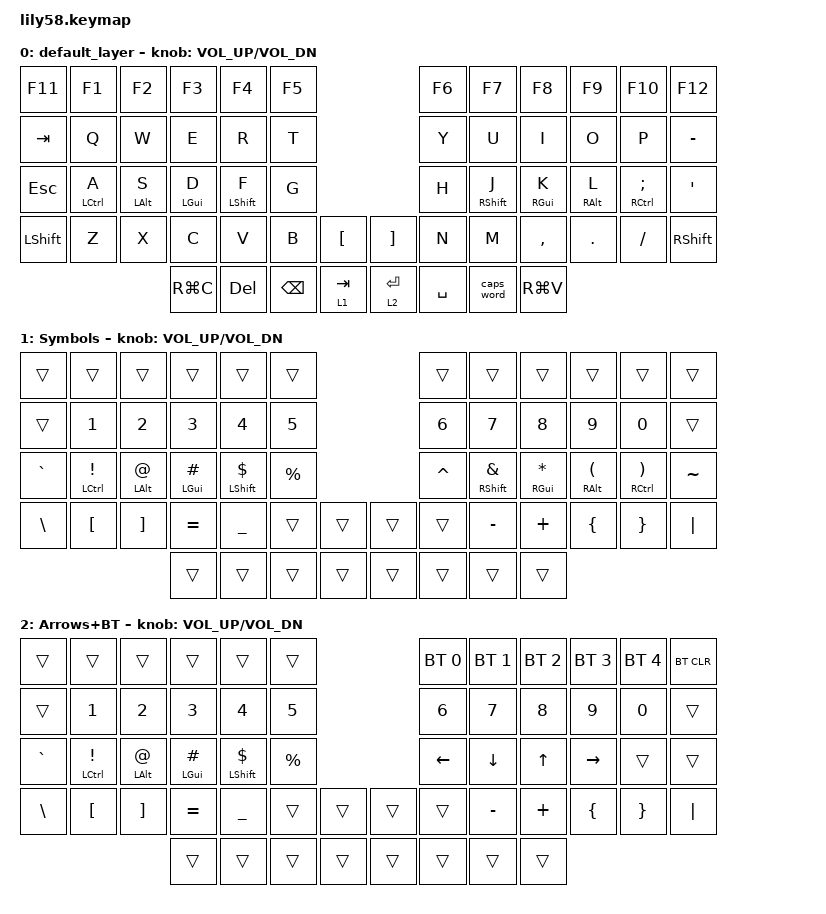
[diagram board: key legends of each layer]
/*
 * Copyright (c) 2020 The ZMK Contributors
 *
 * SPDX-License-Identifier: MIT
 */

#include <behaviors.dtsi>
#include <dt-bindings/zmk/bt.h>
#include <dt-bindings/zmk/keys.h>

/ {
    behaviors {
        hml: homewrow_mods_left {
            compatible = "zmk,behavior-hold-tap";
            label = "HOMEROW_MODS_LEFT_HAND";
            bindings = <&kp>, <&kp>;

            #binding-cells = <2>;
            tapping-term-ms = <250>;
            hold-trigger-key-positions = <6 7 8 9 10 11 18 19 20 21 22 23 30 31 32 33 34 35 44 45 46 47 48 49 55 56 57 43 54 53 52 51>;
            flavor = "balanced";
            hold-trigger-on-release;
            require-prior-idle-ms = <70>;
            quick-tap-ms = <180>;
        };

        hmr: homewrow_mods_right {
            compatible = "zmk,behavior-hold-tap";
            label = "HOMEROW_MODS_RIGHT_HAND";
            bindings = <&kp>, <&kp>;

            #binding-cells = <2>;
            tapping-term-ms = <250>;
            hold-trigger-key-positions = <0 1 2 3 4 5 12 13 14 15 16 17 24 25 26 27 28 29 36 37 38 39 40 41 42 50 51 52 53 54 55>;
            flavor = "balanced";
            hold-trigger-on-release;
            require-prior-idle-ms = <70>;
            quick-tap-ms = <180>;
        };

        tm: thumb_mods {
            compatible = "zmk,behavior-hold-tap";
            bindings = <&mo>, <&kp>;

            #binding-cells = <2>;
            tapping-term-ms = <150>;
            flavor = "balanced";
            hold-trigger-on-release;
            hold-trigger-key-positions = <0 1 2 3 4 5 6 7 8 9 10 11 12 13 14 15 16 17 18 19 20 21 22 23 24 25 26 27 28 29 30 31 32 33 34 35 36 37 38 39 40 41 42 43 44 45 46 47 48 49 50 51 52 55 56 57 54 53>;
            label = "THUMB_MODS";
            quick-tap-ms = <100>;
        };

        hml_shift: hml_shift {
            compatible = "zmk,behavior-hold-tap";
            label = "HML_SHIFT";
            bindings = <&kp>, <&kp>;

            #binding-cells = <2>;
            tapping-term-ms = <140>;
            hold-trigger-key-positions = <6 7 8 9 10 11 18 19 20 21 22 23 30 31 32 33 34 35 44 45 46 47 48 49 55 56 57 43 54 53>;
            flavor = "balanced";
            quick-tap-ms = <180>;
        };

        hmr_shift: hmr_shift {
            compatible = "zmk,behavior-hold-tap";
            label = "HMR_SHIFT";
            bindings = <&kp>, <&kp>;

            #binding-cells = <2>;
            tapping-term-ms = <140>;
            hold-trigger-key-positions = <0 1 2 3 4 5 12 13 14 15 16 17 24 25 26 27 28 29 36 37 38 39 40 41 42 50 51 52 53 54>;
            flavor = "balanced";
            quick-tap-ms = <180>;
        };
    };

    keymap {
        compatible = "zmk,keymap";

        default_layer {
            // ------------------------------------------------------------------------------------------------------------
            // |  ESC  |  1  |  2  |  3   |  4   |  5   |                   |  6   |  7    |  8    |  9   |   0   |   `   |
            // |  TAB  |  Q  |  W  |  E   |  R   |  T   |                   |  Y   |  U    |  I    |  O   |   P   |   -   |
            // |  CTRL |  A  |  S  |  D   |  F   |  G   |                   |  H   |  J    |  K    |  L   |   ;   |   '   |
            // | SHIFT |  Z  |  X  |  C   |  V   |  B   |   "["  |  |  "]"  |  N   |  M    |  ,    |  .   |   /   | SHIFT |
            //                     | ALT  | GUI  | LOWER|  SPACE |  | ENTER | RAISE| BSPC  | GUI   |

            bindings = <
&kp F11    &kp F1        &kp F2           &kp F3           &kp F4                   &kp F5                                   &kp F6     &kp F7                    &kp F8            &kp F9            &kp F10               &kp F12
&kp TAB    &kp Q         &kp W            &kp E            &kp R                    &kp T                                    &kp Y      &kp U                     &kp I             &kp O             &kp P                 &kp MINUS
&kp ESC    &hml LCTRL A  &hml LEFT_ALT S  &hml LEFT_GUI D  &hml_shift LEFT_SHIFT F  &kp G                                    &kp H      &hmr_shift RIGHT_SHIFT J  &hmr RIGHT_GUI K  &hmr RIGHT_ALT L  &hmr RCTRL SEMICOLON  &kp SQT
&kp LSHFT  &kp Z         &kp X            &kp C            &kp V                    &kp B          &kp LBKT     &kp RBKT     &kp N      &kp M                     &kp COMMA         &kp DOT           &kp FSLH              &kp RSHFT
                                          &kp RG(C)        &kp DELETE               &kp BACKSPACE  &tm 1 TAB    &tm 2 ENTER  &kp SPACE  &caps_word                &kp RG(V)
            >;

            sensor-bindings = <&inc_dec_kp C_VOL_UP C_VOL_DN>;
        };

        Symbols {
            // ------------------------------------------------------------------------------------------------------------
            // | BTCLR | BT1 | BT2 |  BT3 |  BT4 |  BT5 |                   |      |       |       |      |       |       |
            // |  F1   |  F2 |  F3 |  F4  |  F5  |  F6  |                   |  F7  |  F8   |  F9   |  F10 |  F11  |  F12  |
            // |   `   |  !  |  @  |  #   |  $   |  %   |                   |  ^   |  &    |  *    |  (   |   )   |   ~   |
            // |       |     |     |      |      |      |        |  |       |      |  _    |  +    |  {   |   }   |  "|"  |
            //                     |      |      |      |        |  |       |      |       |       |

            bindings = <
&trans         &trans                         &trans                 &trans              &trans                        &trans                       &trans        &trans                            &trans                   &trans                           &trans                                &trans
&trans         &kp NUMBER_1                   &kp NUMBER_2           &kp NUMBER_3        &kp NUMBER_4                  &kp N5                       &kp NUMBER_6  &kp N7                            &kp N8                   &kp N9                           &kp N0                                &trans
&kp GRAVE      &hml LEFT_CONTROL EXCLAMATION  &hml LEFT_ALT AT_SIGN  &hml LEFT_GUI HASH  &hml_shift LEFT_SHIFT DOLLAR  &kp PRCNT                    &kp CARET     &hmr_shift RIGHT_SHIFT AMPERSAND  &hmr RIGHT_GUI ASTERISK  &hmr RIGHT_ALT LEFT_PARENTHESIS  &hmr RIGHT_CONTROL RIGHT_PARENTHESIS  &kp TILDE
&kp BACKSLASH  &kp LEFT_BRACKET               &kp RIGHT_BRACKET      &kp EQUAL           &kp UNDERSCORE                &trans     &trans    &trans  &trans        &kp MINUS                         &kp PLUS                 &kp LBRC                         &kp RBRC                              &kp PIPE
                                                                     &trans              &trans                        &trans     &trans    &trans  &trans        &trans                            &trans
            >;

            sensor-bindings = <&inc_dec_kp C_VOL_UP C_VOL_DN>;
        };

        Arrows+BT {
            // ------------------------------------------------------------------------------------------------------------
            // |       |     |     |      |      |      |                   |      |       |       |      |       |       |
            // |   `   |  1  |  2  |  3   |  4   |  5   |                   |  6   |   7   |   8   |  9   |   0   |       |
            // |   F1  |  F2 |  F3 |  F4  |  F5  |  F6  |                   |      |   <-  |   v   |  ^   |  ->   |       |
            // |   F7  |  F8 |  F9 |  F10 |  F11 |  F12 |        |  |       |  +   |   -   |   =   |  [   |   ]   |   \   |
            //                     |      |      |      |        |  |       |      |       |       |

            bindings = <
&trans         &trans                         &trans                 &trans              &trans                        &trans                       &bt BT_SEL 0  &bt BT_SEL 1    &bt BT_SEL 2  &bt BT_SEL 3  &bt BT_SEL 4  &bt BT_CLR
&trans         &kp N1                         &kp N2                 &kp N3              &kp N4                        &kp N5                       &kp N6        &kp N7          &kp N8        &kp N9        &kp N0        &trans
&kp GRAVE      &hml LEFT_CONTROL EXCLAMATION  &hml LEFT_ALT AT_SIGN  &hml LEFT_GUI HASH  &hml_shift LEFT_SHIFT DOLLAR  &kp PRCNT                    &kp LEFT      &kp DOWN_ARROW  &kp UP_ARROW  &kp RIGHT     &trans        &trans
&kp BACKSLASH  &kp LEFT_BRACKET               &kp RIGHT_BRACKET      &kp EQUAL           &kp UNDERSCORE                &trans     &trans    &trans  &trans        &kp MINUS       &kp PLUS      &kp LBRC      &kp RBRC      &kp PIPE
                                                                     &trans              &trans                        &trans     &trans    &trans  &trans        &trans          &trans
            >;

            sensor-bindings = <&inc_dec_kp C_VOL_UP C_VOL_DN>;
        };
    };
};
